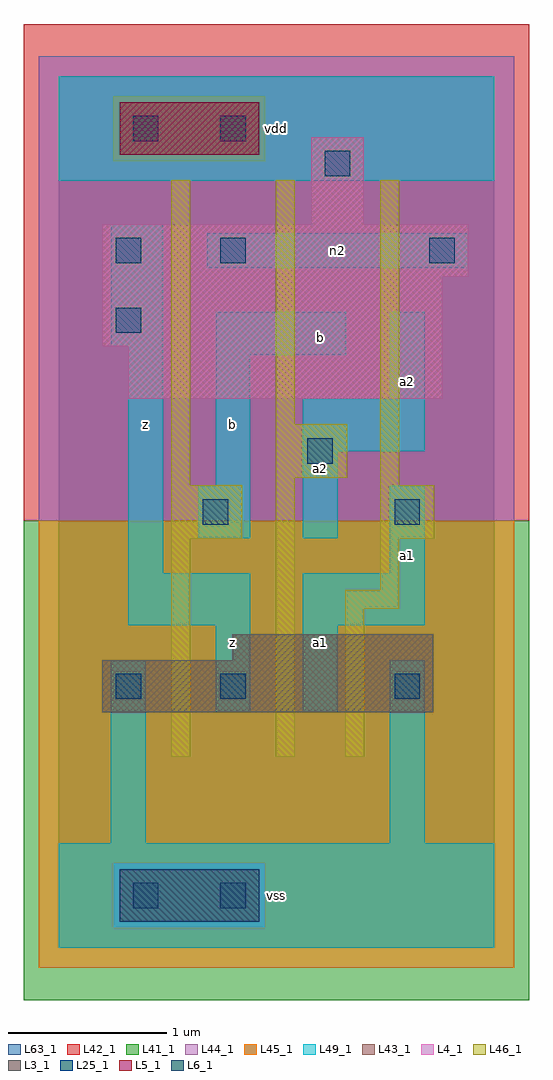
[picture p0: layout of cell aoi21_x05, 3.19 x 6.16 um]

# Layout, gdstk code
import gdstk
lib = gdstk.Library(unit=1e-6, precision=1e-09)
def R(c, l, rs):  # rectangles x0, y0, x1, y1
    for r in rs: c.add(gdstk.rectangle(r[:2], r[2:], *l))
L3_1 = (3, 1)
L4_1 = (4, 1)
L5_1 = (5, 1)
L6_1 = (6, 1)
L25_1 = (25, 1)
L41_1 = (41, 1)
L42_1 = (42, 1)
L43_1 = (43, 1)
L44_1 = (44, 1)
L45_1 = (45, 1)
L46_1 = (46, 1)
L49_1 = (49, 1)
L63_1 = (63, 1)

aoi21_x05 = lib.new_cell('aoi21_x05')
R(aoi21_x05, L3_1, [(0.275,1.485,2.365,1.815), (1.1,1.815,2.365,1.98)])
R(aoi21_x05, L4_1, [(0.44,3.465,2.42,3.795), (0.275,3.795,2.42,4.235), (0.275,4.235,2.585,4.565), (1.595,4.565,1.925,5.115)])
R(aoi21_x05, L5_1, [(0.385,5.005,1.265,5.335)])
R(aoi21_x05, L6_1, [(0.385,0.165,1.265,0.495)])
R(aoi21_x05, L25_1, [(0.47,0.25,0.63,0.41), (1.02,0.25,1.18,0.41), (0.36,1.57,0.52,1.73), (1.02,1.57,1.18,1.73), (2.12,1.57,2.28,1.73), (0.91,2.67,1.07,2.83), (2.12,2.67,2.28,2.83), (1.57,3.055,1.73,3.215), (0.36,3.88,0.52,4.04), (0.36,4.32,0.52,4.48), (1.02,4.32,1.18,4.48), (2.34,4.32,2.5,4.48), (1.68,4.87,1.84,5.03), (0.47,5.09,0.63,5.25), (1.02,5.09,1.18,5.25)])
R(aoi21_x05, L41_1, [(-0.22,-0.33,2.97,2.695)])
R(aoi21_x05, L42_1, [(-0.22,2.695,2.97,5.83)])
R(aoi21_x05, L43_1, [(0.385,0.165,1.265,0.495), (0.275,1.485,2.365,1.815), (1.1,1.815,2.365,1.98), (0.44,3.465,2.42,3.795), (0.275,3.795,2.42,4.235), (0.275,4.235,2.585,4.565), (1.595,4.565,1.925,5.115), (0.385,5.005,1.265,5.335)])
R(aoi21_x05, L44_1, [(0.345,0.125,1.305,0.535), (-0.125,2.695,2.875,4.965), (-0.125,4.965,0.345,5.375), (1.305,4.965,2.875,5.375), (-0.125,5.375,2.875,5.625)])
R(aoi21_x05, L45_1, [(-0.125,-0.125,2.875,0.125), (-0.125,0.125,0.345,0.535), (1.305,0.125,2.875,0.535), (-0.125,0.535,2.875,2.695), (0.345,4.965,1.305,5.375)])
R(aoi21_x05, L46_1, [(0.71,1.205,0.83,2.58), (1.37,1.205,1.49,2.965), (1.81,1.205,1.93,2.14), (1.81,2.14,2.15,2.26), (2.03,2.26,2.15,2.58), (0.71,2.58,1.16,2.92), (2.03,2.58,2.37,2.92), (0.71,2.92,0.83,4.845), (2.03,2.92,2.15,4.845), (1.37,2.965,1.82,3.305), (1.37,3.305,1.49,4.845)])
R(aoi21_x05, L49_1, [(0,0,2.75,0.66), (0.33,0.66,0.55,1.815), (2.09,0.66,2.31,1.815), (0.99,1.485,1.21,2.035), (1.54,1.485,1.76,2.035), (0.44,2.035,1.21,2.365), (1.54,2.035,2.31,2.365), (0.44,2.365,0.66,3.795), (2.09,2.365,2.31,2.915), (0.88,2.585,1.21,2.915), (1.54,2.585,1.76,3.135), (0.99,2.915,1.21,3.74), (1.54,3.135,2.31,3.465), (2.09,3.465,2.31,4.015), (0.99,3.74,1.815,4.015), (0.33,3.795,0.66,4.565), (0.935,4.29,2.585,4.51), (0,4.84,2.75,5.5)])
R(aoi21_x05, L63_1, [(0,0,2.75,5.5)])
aoi21_x05.add(gdstk.Label('z', (1.1,1.925), layer=49, texttype=1))
aoi21_x05.add(gdstk.Label('z', (1.1,1.925), layer=49, texttype=1))
aoi21_x05.add(gdstk.Label('z', (0.55,3.3), layer=49, texttype=1))
aoi21_x05.add(gdstk.Label('z', (0.55,3.3), layer=49, texttype=1))
aoi21_x05.add(gdstk.Label('b', (1.1,3.3), layer=49, texttype=1))
aoi21_x05.add(gdstk.Label('b', (1.1,3.3), layer=49, texttype=1))
aoi21_x05.add(gdstk.Label('vss', (1.375,0.33), layer=49, texttype=1))
aoi21_x05.add(gdstk.Label('vss', (1.375,0.33), layer=49, texttype=1))
aoi21_x05.add(gdstk.Label('a1', (1.65,1.925), layer=49, texttype=1))
aoi21_x05.add(gdstk.Label('a1', (1.65,1.925), layer=49, texttype=1))
aoi21_x05.add(gdstk.Label('b', (1.65,3.85), layer=49, texttype=1))
aoi21_x05.add(gdstk.Label('a2', (1.65,3.025), layer=49, texttype=1))
aoi21_x05.add(gdstk.Label('b', (1.65,3.85), layer=49, texttype=1))
aoi21_x05.add(gdstk.Label('a2', (1.65,3.025), layer=49, texttype=1))
aoi21_x05.add(gdstk.Label('vdd', (1.375,5.17), layer=49, texttype=1))
aoi21_x05.add(gdstk.Label('vdd', (1.375,5.17), layer=49, texttype=1))
aoi21_x05.add(gdstk.Label('a1', (2.2,2.475), layer=49, texttype=1))
aoi21_x05.add(gdstk.Label('a1', (2.2,2.475), layer=49, texttype=1))
aoi21_x05.add(gdstk.Label('a2', (2.2,3.575), layer=49, texttype=1))
aoi21_x05.add(gdstk.Label('a2', (2.2,3.575), layer=49, texttype=1))
aoi21_x05.add(gdstk.Label('n2', (1.76,4.4), layer=49, texttype=1))

lib.write_gds('aoi21_x05.gds')
